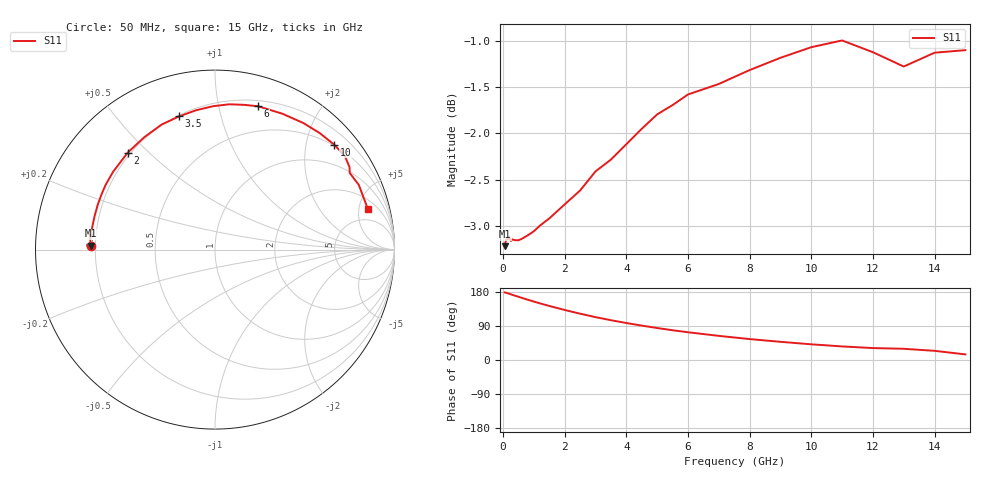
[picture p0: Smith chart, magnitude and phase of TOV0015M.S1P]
! SIEMENS Small Signal Semiconductors
! BAT15-03W
! Si Schottky Diode in SOD323
! IF = 15 mA
! S-Parameters:  May  1996
# GHz  S  MA  R  50
!  f  S11
! GHz  MAG  ANG
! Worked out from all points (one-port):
!   31 points, 50 MHz to 15 GHz, reference 50 ohm
!   lowest |S11| = -3.2 dB at 50 MHz (marker M1), VSWR 5.45, Z = 9.17 + j0.759 ohm
!   |S11| at or under -10 dB: nowhere
!   S11 on the Smith chart (normalised r, x): 50 MHz: 0.18, +0.02; 2 GHz: 0.19, +0.43; 3.5 GHz: 0.21, +0.75; 6 GHz: 0.25, +1.32; 10 GHz: 0.48, +2.57; 15 GHz: 3.08, +6.21
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0.05  0.6901 178.2
0.1  0.6957 177.5
0.2  0.6983 174.8
0.25  0.6946 173.4
0.3  0.6959 171.9
0.6  0.6963 164.2
0.8  0.6994 159.1
1  0.7031 154.2
1.2  0.7081 149.4
1.5  0.7144 142.6
2  0.727 132.0
2.5  0.7398 122.2
3  0.7576 113.1
3.5  0.7688 105.0
4  0.7837 97.6
4.5  0.7989 90.8
5  0.8135 84.4
5.5  0.823 78.5
6  0.8339 73.2
7  0.8449 63.7
8  0.8597 55.2
9  0.873 48.0
10  0.8846 41.4
11  0.8921 35.8
12  0.8791 31.5
13  0.8635 29.6
14  0.8785 24.2
15  0.8813 14.8
